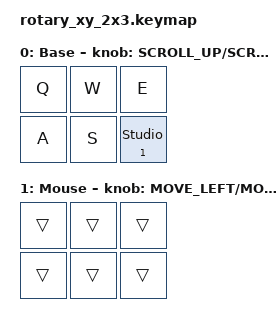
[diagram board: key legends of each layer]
#include <behaviors.dtsi>
#include <dt-bindings/zmk/keys.h>
#include <dt-bindings/zmk/pointing.h>

/ {
    behaviors {
        // 1. MACRO TO COMBINE LAYER 1 AND SHIFT ON HOLD
        mo_shift: mo_shift_macro {
            compatible = "zmk,behavior-macro-one-param";
            #binding-cells = <1>;
            wait-ms = <0>;
            tap-ms = <0>;
            bindings
                = <&macro_press &kp LSHIFT &mo MACRO_PLACEHOLDER>
                , <&macro_pause_for_release>
                , <&macro_release &kp LSHIFT &mo MACRO_PLACEHOLDER>
                ;
        };

        // 2. HOLD-TAP ASSIGNMENT FOR KEY 6
        studio_mo: studio_momentary_hold {
            compatible = "zmk,behavior-hold-tap";
            #binding-cells = <2>;
            flavor = "hold-preferred";
            tapping-term-ms = <200>; 
            bindings = <&mo_shift>, <&studio_unlock>;
        };
    };

    keymap {
        compatible = "zmk,keymap";

        // LAYER 0: The Base Layer
        default_layer {
            display-name = "Base";
            bindings = <
                &kp Q      &kp W      &kp E      
                &kp A      &kp S      &studio_mo 1 0 // Hold for Layer 1 + Shift, Tap to Unlock Studio!
            >;

            // Encoder Default: Scrolls pages up and down
            sensor-bindings = <&inc_dec_kp K_SCROLL_UP K_SCROLL_DOWN>;
        };

        // LAYER 1: Mouse Movement Layer (Active when Key 6 is held)
        mouse_movement_layer {
            display-name = "Mouse";
            bindings = <
                &trans     &trans     &trans     
                &trans     &trans     &trans 
            >;

            // FIX: Encoder now moves your computer mouse cursor Left and Right!
            sensor-bindings = <&inc_dec_kp MOVE_LEFT MOVE_RIGHT>;
        };
    };
};
